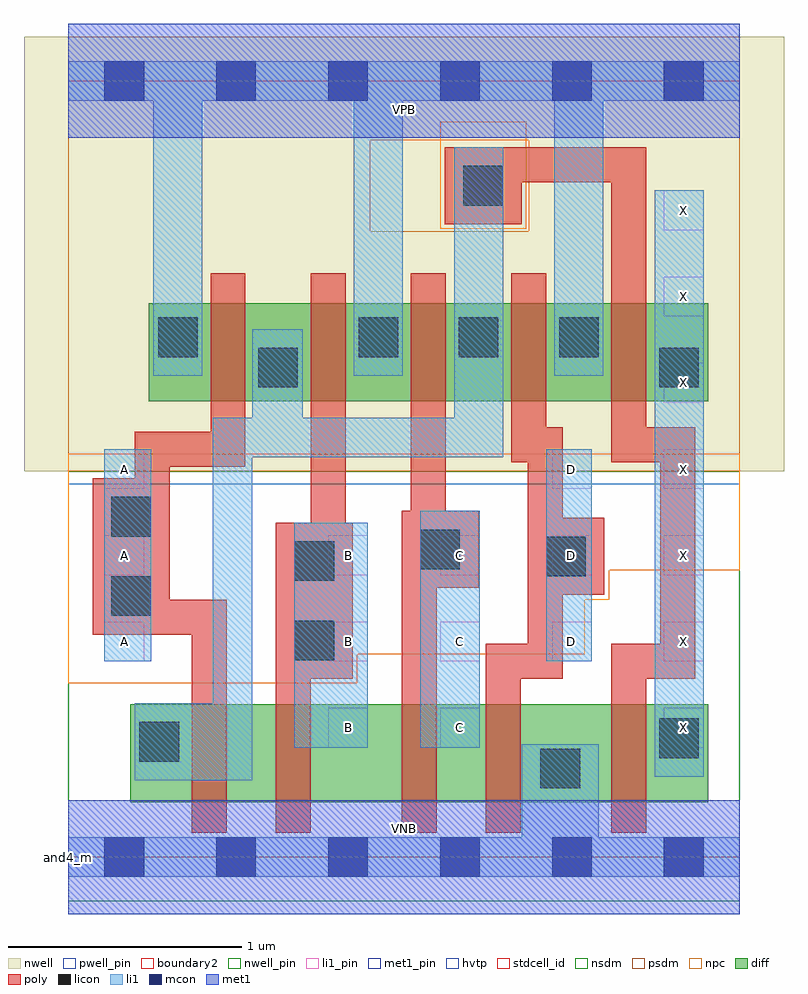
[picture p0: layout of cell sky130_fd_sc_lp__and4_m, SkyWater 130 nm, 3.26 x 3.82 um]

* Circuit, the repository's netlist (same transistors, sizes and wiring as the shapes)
* Copyright 2020 The SkyWater PDK Authors
*
* Licensed under the Apache License, Version 2.0 (the "License");
* you may not use this file except in compliance with the License.
* You may obtain a copy of the License at
*
*     https://www.apache.org/licenses/LICENSE-2.0
*
* Unless required by applicable law or agreed to in writing, software
* distributed under the License is distributed on an "AS IS" BASIS,
* WITHOUT WARRANTIES OR CONDITIONS OF ANY KIND, either express or implied.
* See the License for the specific language governing permissions and
* limitations under the License.
*
* SPDX-License-Identifier: Apache-2.0

.SUBCKT sky130_fd_sc_lp__and4_m A B C D VGND VNB VPB VPWR X
*.PININFO A:I B:I C:I D:I VGND:I VNB:I VPB:I VPWR:I X:O
MMP0 y A VPWR VPB sky130_fd_pr__pfet_01v8_hvt m=1 w=0.42U l=0.15U mult=1 sa=0.265
+ sb=0.265 sd=0.28 area=0.063 perim=1.14
MMP1 y B VPWR VPB sky130_fd_pr__pfet_01v8_hvt m=1 w=0.42U l=0.15U mult=1 sa=0.265
+ sb=0.265 sd=0.28 area=0.063 perim=1.14
MMP2 y C VPWR VPB sky130_fd_pr__pfet_01v8_hvt m=1 w=0.42U l=0.15U mult=1 sa=0.265
+ sb=0.265 sd=0.28 area=0.063 perim=1.14
MMP3 y D VPWR VPB sky130_fd_pr__pfet_01v8_hvt m=1 w=0.42U l=0.15U mult=1 sa=0.265
+ sb=0.265 sd=0.28 area=0.063 perim=1.14
MMIP0 X y VPWR VPB sky130_fd_pr__pfet_01v8_hvt m=1 w=0.42U l=0.15U mult=1 sa=0.265
+ sb=0.265 sd=0.28 area=0.063 perim=1.14
MMN0 y A sndA VNB sky130_fd_pr__nfet_01v8 m=1 w=0.42U l=0.15U mult=1 sa=0.265 sb=0.265
+ sd=0.28 area=0.063 perim=1.14
MMN1 sndA B sndB VNB sky130_fd_pr__nfet_01v8 m=1 w=0.42U l=0.15U mult=1 sa=0.265
+ sb=0.265 sd=0.28 area=0.063 perim=1.14
MMN2 sndB C sndC VNB sky130_fd_pr__nfet_01v8 m=1 w=0.42U l=0.15U mult=1 sa=0.265
+ sb=0.265 sd=0.28 area=0.063 perim=1.14
MMN3 sndC D VGND VNB sky130_fd_pr__nfet_01v8 m=1 w=0.42U l=0.15U mult=1 sa=0.265
+ sb=0.265 sd=0.28 area=0.063 perim=1.14
MMIN0 X y VGND VNB sky130_fd_pr__nfet_01v8 m=1 w=0.42U l=0.15U mult=1 sa=0.265
+ sb=0.265 sd=0.28 area=0.063 perim=1.14
.ENDS sky130_fd_sc_lp__and4_m

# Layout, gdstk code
import gdstk
lib = gdstk.Library(unit=1e-6, precision=1e-09)
def R(c, l, rs):  # rectangles x0, y0, x1, y1
    for r in rs: c.add(gdstk.rectangle(r[:2], r[2:], *l))
def A(c, l, x, y, w, h, nx, ny, dx, dy):  # array of equal rectangles
    R(c, l, [(x+i*dx, y+j*dy, x+i*dx+w, y+j*dy+h) for i in range(nx) for j in range(ny)])
def P(c, l, *ps):  # polygons
    for p in ps: c.add(gdstk.Polygon(p, *l))
nwell_pin = (64, 16)
nwell = (64, 20)
diff = (65, 20)
poly = (66, 20)
licon = (66, 44)
li1_pin = (67, 16)
li1 = (67, 20)
mcon = (67, 44)
met1_pin = (68, 16)
met1 = (68, 20)
hvtp = (78, 44)
stdcell_id = (81, 4)
nsdm = (93, 44)
psdm = (94, 20)
npc = (95, 20)
pwell_pin = (122, 16)
boundary2 = (236, 0)

sky130_fd_sc_lp__and4_m = lib.new_cell('sky130_fd_sc_lp__and4_m')
R(sky130_fd_sc_lp__and4_m, nwell_pin, [(0,3.085,2.88,3.33)])
R(sky130_fd_sc_lp__and4_m, nwell, [(-0.19,1.655,3.07,3.52)])
R(sky130_fd_sc_lp__and4_m, diff, [(0.265,0.235,2.745,0.655), (0.345,1.955,2.745,2.375)])
P(sky130_fd_sc_lp__and4_m, poly, [(0.76,2.505),(0.61,2.505),(0.61,1.825),(0.285,1.825),(0.285,1.625),(0.105,1.625),(0.105,0.955),(0.53,0.955),(0.53,0.105),(0.68,0.105),(0.68,1.105),(0.435,1.105),(0.435,1.675),(0.76,1.675)],
  [(1.22,1.435),(1.19,1.435),(1.19,2.505),(1.04,2.505),(1.04,1.435),(0.89,1.435),(0.89,0.105),(1.04,0.105),(1.04,0.765),(1.22,0.765)],
  [(1.76,1.485),(1.62,1.485),(1.62,2.505),(1.47,2.505),(1.47,1.485),(1.43,1.485),(1.43,0.105),(1.58,0.105),(1.58,1.155),(1.76,1.155)],
  [(2.3,1.455),(2.12,1.455),(2.12,1.845),(2.05,1.845),(2.05,2.505),(1.9,2.505),(1.9,1.695),(1.97,1.695),(1.97,0.915),(1.79,0.915),(1.79,0.105),(1.94,0.105),(1.94,0.765),(2.12,0.765),(2.12,1.125),(2.3,1.125)],
  [(2.69,1.845),(2.48,1.845),(2.48,3.045),(1.615,3.045),(1.615,2.715),(1.945,2.715),(1.945,2.895),(2.33,2.895),(2.33,1.695),(2.54,1.695),(2.54,0.915),(2.33,0.915),(2.33,0.105),(2.48,0.105),(2.48,0.765),(2.69,0.765)])
A(sky130_fd_sc_lp__and4_m, licon, 1.245, 2.145, 0.17, 0.17, 3, 1, 0.43, 0)
R(sky130_fd_sc_lp__and4_m, licon, [(2.025,0.295,2.195,0.465), (0.305,0.41,0.475,0.58), (2.535,0.425,2.705,0.595), (0.97,0.845,1.14,1.015), (0.185,1.035,0.355,1.205), (0.97,1.185,1.14,1.355), (2.05,1.205,2.22,1.375), (1.51,1.235,1.68,1.405), (0.185,1.375,0.355,1.545), (0.815,2.015,0.985,2.185), (2.535,2.015,2.705,2.185), (0.385,2.145,0.555,2.315), (1.695,2.795,1.865,2.965)])
A(sky130_fd_sc_lp__and4_m, li1_pin, 0.155, 0.84, 0.17, 0.17, 1, 3, 0, 0.37)
A(sky130_fd_sc_lp__and4_m, li1_pin, 1.115, 0.84, 0.17, 0.17, 4, 2, 0.48, 0.37)
A(sky130_fd_sc_lp__and4_m, li1_pin, 2.555, 1.58, 0.17, 0.17, 1, 4, 0, 0.37)
R(sky130_fd_sc_lp__and4_m, li1_pin, [(1.115,0.47,1.285,0.64), (1.595,0.47,1.765,0.64), (2.555,0.47,2.725,0.64), (2.075,1.58,2.245,1.75)])
R(sky130_fd_sc_lp__and4_m, li1, [(2.515,0.345,2.725,2.86), (0.97,0.47,1.285,1.435), (1.51,0.47,1.765,1.485), (0.155,0.84,0.355,1.75), (2.05,0.84,2.245,1.75)])
P(sky130_fd_sc_lp__and4_m, li1, [(2.085,2.065),(2.085,3.245),(1.435,3.245),(1.435,2.065),(1.225,2.065),(1.225,3.245),(0.575,3.245),(0.575,2.065),(0.365,2.065),(0.365,3.245),(0,3.245),(0,3.415),(2.88,3.415),(2.88,3.245),(2.295,3.245),(2.295,2.065)],
  [(1.945,0.085),(1.945,0.485),(2.275,0.485),(2.275,0.085),(2.88,0.085),(2.88,-0.085),(0,-0.085),(0,0.085)],
  [(1.005,1.885),(1.655,1.885),(1.655,3.045),(1.865,3.045),(1.865,1.715),(0.79,1.715),(0.79,0.33),(0.285,0.33),(0.285,0.66),(0.62,0.66),(0.62,1.885),(0.79,1.885),(0.79,2.265),(1.005,2.265)])
A(sky130_fd_sc_lp__and4_m, mcon, 0.155, -0.085, 0.17, 0.17, 6, 2, 0.48, 3.33)
R(sky130_fd_sc_lp__and4_m, met1_pin, [(0,0,2.88,0.245), (0,3.085,2.88,3.33)])
R(sky130_fd_sc_lp__and4_m, met1, [(0,-0.245,2.88,0.245), (0,3.085,2.88,3.575)])
R(sky130_fd_sc_lp__and4_m, hvtp, [(0,1.6,2.88,3.33)])
R(sky130_fd_sc_lp__and4_m, stdcell_id, [(0,0,2.88,3.33)])
R(sky130_fd_sc_lp__and4_m, nsdm, [(0,-0.19,2.88,1.655)])
P(sky130_fd_sc_lp__and4_m, psdm, [(2.88,3.52),(1.975,3.52),(1.975,2.685),(1.295,2.685),(1.295,3.075),(1.975,3.075),(1.975,3.52),(0,3.52),(0,1.655),(2.88,1.655)])
R(sky130_fd_sc_lp__and4_m, npc, [(1.595,2.695,1.965,3.155)])
P(sky130_fd_sc_lp__and4_m, npc, [(2.88,1.73),(0,1.73),(0,0.745),(1.24,0.745),(1.24,0.87),(2.215,0.87),(2.215,1.105),(2.32,1.105),(2.32,1.23),(2.88,1.23)])
R(sky130_fd_sc_lp__and4_m, pwell_pin, [(0,0,2.88,0.245)])
R(sky130_fd_sc_lp__and4_m, boundary2, [(0,0,2.88,3.33)])
sky130_fd_sc_lp__and4_m.add(gdstk.Label('VNB', (1.44,0.123), layer=64, texttype=59))
sky130_fd_sc_lp__and4_m.add(gdstk.Label('VPB', (1.44,3.208), layer=64, texttype=5))
sky130_fd_sc_lp__and4_m.add(gdstk.Label('and4_m', (0,0), layer=83, texttype=44))
sky130_fd_sc_lp__and4_m.add(gdstk.Label('VPWR', (1.44,3.208), layer=68, texttype=5))
sky130_fd_sc_lp__and4_m.add(gdstk.Label('VGND', (1.44,0.123), layer=68, texttype=5))
sky130_fd_sc_lp__and4_m.add(gdstk.Label('B', (1.2,0.555), layer=67, texttype=5))
sky130_fd_sc_lp__and4_m.add(gdstk.Label('B', (1.2,0.925), layer=67, texttype=5))
sky130_fd_sc_lp__and4_m.add(gdstk.Label('B', (1.2,1.295), layer=67, texttype=5))
sky130_fd_sc_lp__and4_m.add(gdstk.Label('C', (1.68,0.555), layer=67, texttype=5))
sky130_fd_sc_lp__and4_m.add(gdstk.Label('C', (1.68,0.925), layer=67, texttype=5))
sky130_fd_sc_lp__and4_m.add(gdstk.Label('C', (1.68,1.295), layer=67, texttype=5))
sky130_fd_sc_lp__and4_m.add(gdstk.Label('D', (2.16,0.925), layer=67, texttype=5))
sky130_fd_sc_lp__and4_m.add(gdstk.Label('D', (2.16,1.295), layer=67, texttype=5))
sky130_fd_sc_lp__and4_m.add(gdstk.Label('D', (2.16,1.665), layer=67, texttype=5))
sky130_fd_sc_lp__and4_m.add(gdstk.Label('A', (0.24,0.925), layer=67, texttype=5))
sky130_fd_sc_lp__and4_m.add(gdstk.Label('A', (0.24,1.295), layer=67, texttype=5))
sky130_fd_sc_lp__and4_m.add(gdstk.Label('A', (0.24,1.665), layer=67, texttype=5))
sky130_fd_sc_lp__and4_m.add(gdstk.Label('X', (2.64,0.555), layer=67, texttype=5))
sky130_fd_sc_lp__and4_m.add(gdstk.Label('X', (2.64,0.925), layer=67, texttype=5))
sky130_fd_sc_lp__and4_m.add(gdstk.Label('X', (2.64,1.295), layer=67, texttype=5))
sky130_fd_sc_lp__and4_m.add(gdstk.Label('X', (2.64,1.665), layer=67, texttype=5))
sky130_fd_sc_lp__and4_m.add(gdstk.Label('X', (2.64,2.035), layer=67, texttype=5))
sky130_fd_sc_lp__and4_m.add(gdstk.Label('X', (2.64,2.405), layer=67, texttype=5))
sky130_fd_sc_lp__and4_m.add(gdstk.Label('X', (2.64,2.775), layer=67, texttype=5))

lib.write_gds('sky130_fd_sc_lp__and4_m.gds')
